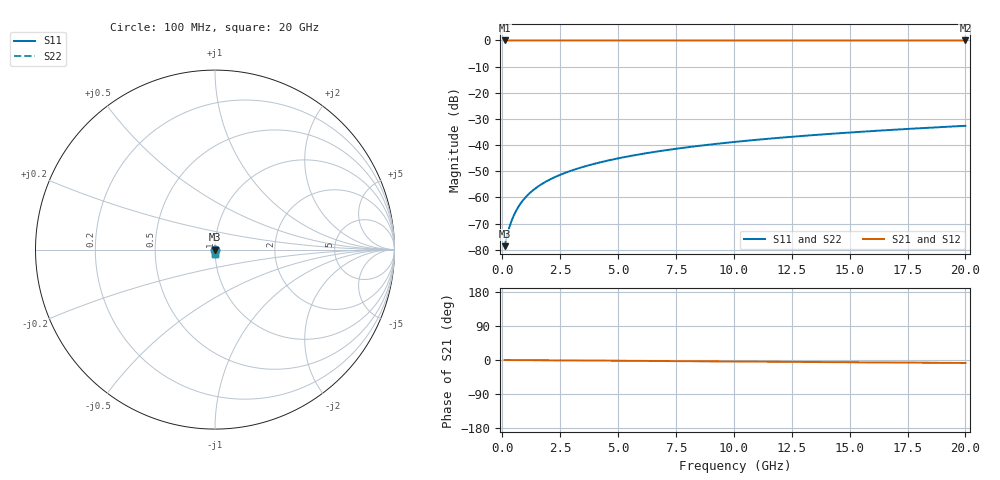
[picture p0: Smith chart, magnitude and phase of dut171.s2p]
! Touchstone file exported from HFSS 2026.1.0
!  File:  C:/ffzhzh/LocalFiles/Ansys_Project_Files/temp_train_TSV_171_1782991072_40604.aedt
!  Generated:  07:19:02 PM Jul  2, 2026
!  Design:  TSV
!  Project:  temp_train_TSV_171_1782991072_40604
! Variables:
!  h_bsmrdl = 2um
!  h_ox = 20um
!  h_rdl = 5um
!  h_sub = 78.7um
!  h_tmrdl = 5um
!  h_tsv = 78.7um
!  h_via = 3um
!  l_bsmrdl = 300um
!  l_sub = 425.42um
!  l_tmrdl = 200um
!  m_sub = 200um
!  pitch = 43.28um
!  r_tsv = 12.71um
!  s_tmrdl = 10um
!  w_bsmrdl = 18um
!  w_sub = 500um
!  w_tmrdl = 12um
!  x_tsv_center1 = 206um
!  x_tsv_center2 = 524um
!  x_tsv_center3 = 736um
!  x_tsv_center4 = 1054um
!  x_tsv_center5 = 1266um
!  x_tsv_center6 = 1584um
# GHz S MA R 50.000000
! Terminal data exported
! Port[1] = TSV1_1_T1
! Port[2] = TSV1_1_T2
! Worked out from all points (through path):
!   200 points, 100 MHz to 20 GHz, reference 50 ohm
!   highest |S21| = 0.00 dB at 100 MHz (marker M1); lowest = 0.0 dB at 20 GHz (marker M2)
!   group delay of S21, straight-line fit = 1.09 ps
!   lowest |S11| = -78.6 dB at 100 MHz (marker M3), VSWR 1.00, Z = 50 - j0.00741 ohm
!   |S11| at or under -10 dB: start of sweep to end of sweep
!   |S22| runs from -78.6 to -32.6 dB; largest |S21 - S12| = 3.4e-15
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0.1  0.0001172 -39.2  0.9999 -0.0  0.9999 -0.0  0.0001172 -39.2
! Gamma 0 0 0 0
! Port Impedance 50 0 50 0
0.2  0.000184 -55.6  0.9999 -0.1  0.9999 -0.1  0.000184 -55.6
0.3  0.0002659 -62.3  0.9999 -0.1  0.9999 -0.1  0.0002659 -62.3
0.4  0.0003573 -65.8  0.9999 -0.2  0.9999 -0.2  0.0003573 -65.8
0.5  0.0004558 -68.1  0.9998 -0.2  0.9998 -0.2  0.0004558 -68.1
0.6  0.0005596 -69.9  0.9998 -0.2  0.9998 -0.2  0.0005596 -69.9
0.8  0.000777 -72.6  0.9998 -0.3  0.9998 -0.3  0.000777 -72.6
1.1  0.001114 -75.7  0.9997 -0.4  0.9997 -0.4  0.001114 -75.7
1.3  0.001342 -77.3  0.9997 -0.5  0.9997 -0.5  0.001342 -77.3
1.5  0.001569 -78.6  0.9997 -0.6  0.9997 -0.6  0.001569 -78.6
1.8  0.00191 -80.1  0.9996 -0.7  0.9996 -0.7  0.00191 -80.1
2.1  0.002252 -81.3  0.9996 -0.8  0.9996 -0.8  0.002252 -81.3
2.7  0.002935 -83.0  0.9996 -1.1  0.9996 -1.1  0.002935 -83.0
3.5  0.00385 -84.5  0.9995 -1.4  0.9995 -1.4  0.00385 -84.5
4.2  0.004656 -85.4  0.9995 -1.7  0.9995 -1.7  0.004656 -85.4
5  0.005584 -86.3  0.9994 -2.0  0.9994 -2.0  0.005584 -86.3
6.8  0.007691 -87.8  0.9993 -2.7  0.9993 -2.7  0.007691 -87.8
8.3  0.009459 -88.9  0.9992 -3.3  0.9992 -3.3  0.009459 -88.9
10.1  0.01159 -90.0  0.9991 -4.0  0.9991 -4.0  0.01159 -90.0
13.4  0.0155 -91.9  0.999 -5.3  0.999 -5.3  0.0155 -91.9
16.7  0.01943 -93.6  0.9988 -6.6  0.9988 -6.6  0.01943 -93.6
20  0.02337 -95.1  0.9986 -7.9  0.9986 -7.9  0.02337 -95.1
